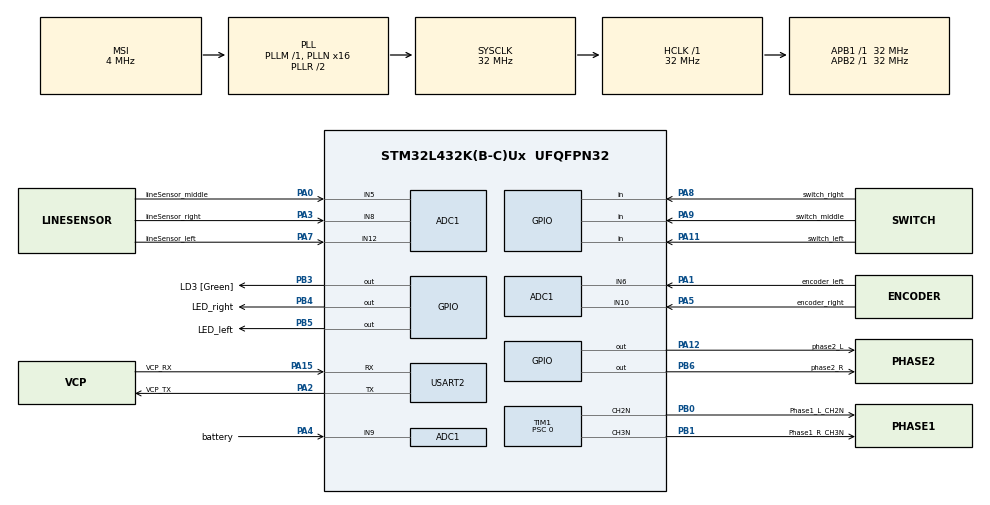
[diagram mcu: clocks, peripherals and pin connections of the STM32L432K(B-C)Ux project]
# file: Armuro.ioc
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ADC1.Channel-0\#ChannelRegularConversion=ADC_CHANNEL_5
ADC1.Channel-1\#ChannelRegularConversion=ADC_CHANNEL_6
ADC1.Channel-2\#ChannelRegularConversion=ADC_CHANNEL_8
ADC1.Channel-3\#ChannelRegularConversion=ADC_CHANNEL_9
ADC1.Channel-4\#ChannelRegularConversion=ADC_CHANNEL_10
ADC1.Channel-5\#ChannelRegularConversion=ADC_CHANNEL_12
ADC1.ClockPrescaler=ADC_CLOCK_ASYNC_DIV4
ADC1.ContinuousConvMode=ENABLE
ADC1.EOCSelection=ADC_EOC_SEQ_CONV
ADC1.NbrOfConversion=6
ADC1.NbrOfConversionFlag=1
ADC1.OffsetNumber-0\#ChannelRegularConversion=ADC_OFFSET_NONE
ADC1.OffsetNumber-1\#ChannelRegularConversion=ADC_OFFSET_NONE
ADC1.OffsetNumber-2\#ChannelRegularConversion=ADC_OFFSET_NONE
ADC1.OffsetNumber-3\#ChannelRegularConversion=ADC_OFFSET_NONE
ADC1.OffsetNumber-4\#ChannelRegularConversion=ADC_OFFSET_NONE
ADC1.OffsetNumber-5\#ChannelRegularConversion=ADC_OFFSET_NONE
ADC1.Rank-0\#ChannelRegularConversion=1
ADC1.Rank-1\#ChannelRegularConversion=2
ADC1.Rank-2\#ChannelRegularConversion=3
ADC1.Rank-3\#ChannelRegularConversion=4
ADC1.Rank-4\#ChannelRegularConversion=5
ADC1.Rank-5\#ChannelRegularConversion=6
ADC1.SamplingTime-0\#ChannelRegularConversion=ADC_SAMPLETIME_2CYCLES_5
ADC1.SamplingTime-1\#ChannelRegularConversion=ADC_SAMPLETIME_2CYCLES_5
ADC1.SamplingTime-2\#ChannelRegularConversion=ADC_SAMPLETIME_2CYCLES_5
ADC1.SamplingTime-3\#ChannelRegularConversion=ADC_SAMPLETIME_2CYCLES_5
ADC1.SamplingTime-4\#ChannelRegularConversion=ADC_SAMPLETIME_2CYCLES_5
ADC1.SamplingTime-5\#ChannelRegularConversion=ADC_SAMPLETIME_2CYCLES_5
ADC1.master=1
Dma.ADC1.0.Direction=DMA_PERIPH_TO_MEMORY
Dma.ADC1.0.Instance=DMA1_Channel1
Dma.ADC1.0.MemDataAlignment=DMA_MDATAALIGN_WORD
Dma.ADC1.0.MemInc=DMA_MINC_ENABLE
Dma.ADC1.0.Mode=DMA_CIRCULAR
Dma.ADC1.0.PeriphDataAlignment=DMA_PDATAALIGN_WORD
Dma.ADC1.0.PeriphInc=DMA_PINC_DISABLE
Dma.ADC1.0.Priority=DMA_PRIORITY_LOW
Dma.Request0=ADC1
Mcu.Family=STM32L4
Mcu.Name=STM32L432K(B-C)Ux
Mcu.Package=UFQFPN32
NVIC.DMA1_Channel1_IRQn=true\:0\:0\:false\:false\:true\:false\:true\:true
NVIC.PriorityGroup=NVIC_PRIORITYGROUP_4
PA0.GPIO_Label=lineSensor_middle
PA0.Signal=ADCx_IN5
PA1.GPIO_Label=encoder_left
PA1.Signal=ADCx_IN6
PA11.GPIO_Label=switch_left
PA11.Signal=GPIO_Input
PA12.GPIO_Label=phase2_L
PA12.PinState=GPIO_PIN_RESET
PA12.Signal=GPIO_Output
PA13\ (JTMS-SWDIO).GPIO_Label=SWDIO
PA13\ (JTMS-SWDIO).Mode=Serial_Wire
PA13\ (JTMS-SWDIO).Signal=SYS_JTMS-SWDIO
PA14\ (JTCK-SWCLK).GPIO_Label=SWCLK
PA14\ (JTCK-SWCLK).Mode=Serial_Wire
PA14\ (JTCK-SWCLK).Signal=SYS_JTCK-SWCLK
PA15\ (JTDI).GPIO_Label=VCP_RX
PA15\ (JTDI).Mode=Asynchronous
PA15\ (JTDI).Signal=USART2_RX
PA2.GPIO_Label=VCP_TX
PA2.Mode=Asynchronous
PA2.Signal=USART2_TX
PA3.GPIO_Label=lineSensor_right
PA3.Signal=ADCx_IN8
PA4.GPIO_Label=battery
PA4.Signal=ADCx_IN9
PA5.GPIO_Label=encoder_right
PA5.Signal=ADCx_IN10
PA7.GPIO_Label=lineSensor_left
PA7.Signal=ADCx_IN12
PA8.GPIO_Label=switch_right
PA8.Signal=GPIO_Input
PA9.GPIO_Label=switch_middle
PA9.Signal=GPIO_Input
PB0.GPIO_Label=Phase1_L_CH2N
PB0.Mode=PWM Generation2 CH2N
PB0.Signal=TIM1_CH2N
PB1.GPIO_Label=Phase1_R_CH3N
PB1.Mode=PWM Generation3 CH3N
PB1.Signal=TIM1_CH3N
PB3\ (JTDO-TRACESWO).GPIO_Label=LD3 [Green]
PB3\ (JTDO-TRACESWO).Signal=GPIO_Output
PB4\ (NJTRST).GPIO_Label=LED_right
PB4\ (NJTRST).Signal=GPIO_Output
PB5.GPIO_Label=LED_left
PB5.Signal=GPIO_Output
PB6.GPIO_Label=phase2_R
PB6.Signal=GPIO_Output
PC14-OSC32_IN\ (PC14).Mode=LSE-External-Oscillator
PC14-OSC32_IN\ (PC14).Signal=RCC_OSC32_IN
PC15-OSC32_OUT\ (PC15).Mode=LSE-External-Oscillator
PC15-OSC32_OUT\ (PC15).Signal=RCC_OSC32_OUT
ProjectManager.HeapSize=0x200
ProjectManager.StackSize=0x400
ProjectManager.TargetToolchain=STM32CubeIDE
RCC.ADCFreq_Value=32000000
RCC.AHBFreq_Value=32000000
RCC.APB1Freq_Value=32000000
RCC.APB1TimFreq_Value=32000000
RCC.APB2Freq_Value=32000000
RCC.APB2TimFreq_Value=32000000
RCC.CortexFreq_Value=32000000
RCC.HCLKFreq_Value=32000000
RCC.HSE_VALUE=8000000
RCC.HSI16_VALUE=16000000
RCC.HSI48_VALUE=48000000
RCC.HSI_VALUE=16000000
RCC.MSI_VALUE=4000000
RCC.PLLMUL=RCC_PLLMUL_4
RCC.PLLN=16
RCC.PLLSAI1N=16
RCC.SYSCLKFreq_VALUE=32000000
RCC.SYSCLKSource=RCC_SYSCLKSOURCE_PLLCLK
RCC.USBFreq_Value=32000000
RCC.VCOOutputFreq_Value=64000000
SH.ADCx_IN10.0=ADC1_IN10,IN10-Single-Ended
SH.ADCx_IN12.0=ADC1_IN12,IN12-Single-Ended
SH.ADCx_IN5.0=ADC1_IN5,IN5-Single-Ended
SH.ADCx_IN6.0=ADC1_IN6,IN6-Single-Ended
SH.ADCx_IN8.0=ADC1_IN8,IN8-Single-Ended
SH.ADCx_IN9.0=ADC1_IN9,IN9-Single-Ended
TIM1.AutoReloadPreload=TIM_AUTORELOAD_PRELOAD_ENABLE
TIM1.Channel-PWM\ Generation2\ CH2N=TIM_CHANNEL_2
TIM1.Channel-PWM\ Generation3\ CH3N=TIM_CHANNEL_3
TIM1.ClockDivision=TIM_CLOCKDIVISION_DIV1
TIM1.OCFastMode_PWM-PWM\ Generation2\ CH2N=TIM_OCFAST_DISABLE
TIM1.OCFastMode_PWM-PWM\ Generation3\ CH3N=TIM_OCFAST_DISABLE
TIM1.OCNPolarity_2=TIM_OCNPOLARITY_HIGH
TIM1.Period=65535
TIM1.Prescaler=0
TIM1.Pulse-PWM\ Generation2\ CH2N=0
TIM1.Pulse-PWM\ Generation3\ CH3N=0
USART2.VirtualMode-Asynchronous=VM_ASYNC
VP_TIM1_VS_ClockSourceINT.Mode=Internal
board=NUCLEO-L432KC

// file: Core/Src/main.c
/* USER CODE BEGIN Header */
/**
  ******************************************************************************
  * @file           : main.c
  * @brief          : Main program body
  ******************************************************************************
  * @attention
  *
  * Copyright (c) 2025 STMicroelectronics.
  * All rights reserved.
  *
  * This software is licensed under terms that can be found in the LICENSE file
  * in the root directory of this software component.
  * If no LICENSE file comes with this software, it is provided AS-IS.
  *
  ******************************************************************************
  */
/* USER CODE END Header */
#include "main.h"
#include "adc.h"
#include "dma.h"
#include "tim.h"
#include "usart.h"
#include "gpio.h"

/* USER CODE BEGIN Includes */
#include <stdio.h>
#include <stdlib.h>
/* USER CODE END Includes */

/* USER CODE BEGIN PM */
#define TRUE 1
#define FALSE 0

#define LEFT 0
#define RIGHT 1

#define BACKWARDS 0
#define FORWARDS 1

// max speed
#define PWM_MAX 65535
// Wheel & encoder config
#define LOW_THRESHOLD 2000
#define HIGH_THRESHOLD 3000
#define PULSES_PER_REV 12
#define WHEEL_DIAMETER_MM 40.0f
#define WHEEL_BASE_MM 80.0f
#define M_PI 3.14159265358979323846
#define WHEEL_CIRCUM_MM (M_PI * WHEEL_DIAMETER_MM)
#define MM_PER_PULSE (WHEEL_CIRCUM_MM / PULSES_PER_REV)

#define MAX_ENCODER_DIFF 30
#define MOTOR_BASE_SPEED 0.5f
#define LINE_KP 0.5f
#define LINE_HIGH_THRESHOLD 2000
/* USER CODE END PM */

/* USER CODE BEGIN PV */

// state control variables

// LED states
enum LED_STATE {
    LED_ON,
    LED_OFF
};
enum LED_STATE taskLED_state = LED_ON;
uint32_t taskLED_timeout = 0;

typedef enum { MOVE_FORWARD, TURN_LEFT, TURN_RIGHT, DONE } StepType;

typedef struct {
    StepType type;
    float value;  // mm for forward, degrees for turn
} TrajectoryStep;

TrajectoryStep path[] = {
    { MOVE_FORWARD, 500 },
    { TURN_RIGHT,    30 },
    { MOVE_FORWARD, 433 },
    { TURN_LEFT,    90  },
    { MOVE_FORWARD, 245 },
    { DONE, 0 }
};
int current_step = 0;

typedef enum {
    SEARCH_INIT,
    SEARCH_ROTATE_RIGHT,
    SEARCH_ROTATE_RIGHT_BACK,
    SEARCH_ROTATE_LEFT,
    SEARCH_ROTATE_LEFT_BACK,
    SEARCH_DONE
} SearchState;

typedef enum {
    FOLLOW_TRAJECTORY,
    FOLLOW_LINE,
    SEARCH_LINE,
    OVERCOME_GAP,
    AVOID_OBSTACLE,
    COURSE_DONE
} CourseState;

// adc variables
volatile uint16_t adc[6];
volatile uint16_t buffer[6];    // DMA target
volatile uint8_t conversion_done_flag = 1;
char string_buf[100];

uint8_t current_channel_index = 0;
const uint32_t adc_channels[6] = {
    ADC_CHANNEL_5,   // PA0 – Line sensor mid
    ADC_CHANNEL_6,   // PA1 – Encoder left
    ADC_CHANNEL_8,   // PA3 – Line sensor right
    ADC_CHANNEL_9,   // PA4 – Battery
    ADC_CHANNEL_10,  // PA5 – Encoder right
    ADC_CHANNEL_12   // PA7 – Line sensor left
};

// Encoder state
volatile int left_prev_state = 0;
volatile int right_prev_state = 0;
volatile int left_total_count = 0;
volatile int right_total_count = 0;

// variables for driving control
uint32_t start_left = 0;
uint32_t start_right = 0;
volatile int target_pulses = 0;
static uint8_t driving = 0;

// variables for course state
CourseState course_state = FOLLOW_TRAJECTORY;
SearchState search_state = SEARCH_INIT;
int avoidObstacleState = 0;

/* USER CODE END PV */

void SystemClock_Config(void);
/* USER CODE BEGIN PFP */
float getVel(float, int);
void setMotors(int, int, float, float);
void moveRoboboy(int, int, float, float);
void driveMotorsCooperative(int, int);
char driveMMStraightCooperative(int, float);
char spinDegreesCooperative(int, float);
void HAL_ADC_ConvCpltCallback(ADC_HandleTypeDef*);
void readSensorsAndPrint(void);
void process_encoder_signals();
void taskLED(void);
int mm_to_pulses(float);
int degrees_to_pulses(float);
void task_followTrajectory(void);
void reset_encoder_counters(void);
char line_detected(void);
char collision_detected(void);
float* get_pwm_values(void);
void task_followLine();
void task_searchLine(void);
void task_avoidObstacle();
void task_overcomeGap();
/* USER CODE END PFP */

int main(void)
{

  /* MCU Configuration--------------------------------------------------------*/

  /* Reset of all peripherals, Initializes the Flash interface and the Systick. */
  HAL_Init();

  /* USER CODE BEGIN Init */
  /* INITIALIZE PWM */
  /* USER CODE END Init */

  /* Configure the system clock */
  SystemClock_Config();

  /* Initialize all configured peripherals */
  MX_GPIO_Init();
  MX_DMA_Init();
  MX_USART2_UART_Init();
  MX_ADC1_Init();
  MX_TIM1_Init();
  /* USER CODE BEGIN 2 */
  HAL_ADC_Start_DMA(&hadc1, (uint32_t*)buffer, 6);

  HAL_TIMEx_PWMN_Start(&htim1, TIM_CHANNEL_2);
  HAL_TIMEx_PWMN_Start(&htim1, TIM_CHANNEL_3);
  TIM1 -> CCR2 = 0;
  TIM1 -> CCR3 = 0;

  /* USER CODE END 2 */

  /* Infinite loop */
  /* USER CODE BEGIN WHILE */
  while (1)
  {
	  if (conversion_done_flag) {
		  readSensorsAndPrint();

		  process_encoder_signals();
		  taskLED();

		  switch (course_state) {
		  	  case FOLLOW_TRAJECTORY:
		  		  task_followTrajectory();
		  		  break;
		  	  case FOLLOW_LINE:
		  		  task_followLine();
		  		  break;
		  	  case SEARCH_LINE:
		  		  task_searchLine();
		  		  break;
		  	  case OVERCOME_GAP:
		  		  task_overcomeGap();
		  		  break;
		  	  case AVOID_OBSTACLE:
		  		  task_avoidObstacle();
		  		  break;
		  	  case COURSE_DONE:
		  		  moveRoboboy(1, 1, 0, 0);
		  	  default:
		  		  moveRoboboy(1, 1, 0, 0);
		  		  break;
		  	  }
	  }

    /* USER CODE END WHILE */

  }
}

void SystemClock_Config(void)
{
  RCC_OscInitTypeDef RCC_OscInitStruct = {0};
  RCC_ClkInitTypeDef RCC_ClkInitStruct = {0};

  /** Configure the main internal regulator output voltage
  */
  if (HAL_PWREx_ControlVoltageScaling(PWR_REGULATOR_VOLTAGE_SCALE1) != HAL_OK)
  {
    Error_Handler();
  }

  /** Configure LSE Drive Capability
  */
  HAL_PWR_EnableBkUpAccess();
  __HAL_RCC_LSEDRIVE_CONFIG(RCC_LSEDRIVE_LOW);

  /** Initializes the RCC Oscillators according to the specified parameters
  * in the RCC_OscInitTypeDef structure.
  */
  RCC_OscInitStruct.OscillatorType = RCC_OSCILLATORTYPE_LSE|RCC_OSCILLATORTYPE_MSI;
  RCC_OscInitStruct.LSEState = RCC_LSE_ON;
  RCC_OscInitStruct.MSIState = RCC_MSI_ON;
  RCC_OscInitStruct.MSICalibrationValue = 0;
  RCC_OscInitStruct.MSIClockRange = RCC_MSIRANGE_6;
  RCC_OscInitStruct.PLL.PLLState = RCC_PLL_ON;
  RCC_OscInitStruct.PLL.PLLSource = RCC_PLLSOURCE_MSI;
  RCC_OscInitStruct.PLL.PLLM = 1;
  RCC_OscInitStruct.PLL.PLLN = 16;
  RCC_OscInitStruct.PLL.PLLP = RCC_PLLP_DIV7;
  RCC_OscInitStruct.PLL.PLLQ = RCC_PLLQ_DIV2;
  RCC_OscInitStruct.PLL.PLLR = RCC_PLLR_DIV2;
  if (HAL_RCC_OscConfig(&RCC_OscInitStruct) != HAL_OK)
  {
    Error_Handler();
  }

  /** Initializes the CPU, AHB and APB buses clocks
  */
  RCC_ClkInitStruct.ClockType = RCC_CLOCKTYPE_HCLK|RCC_CLOCKTYPE_SYSCLK
                              |RCC_CLOCKTYPE_PCLK1|RCC_CLOCKTYPE_PCLK2;
  RCC_ClkInitStruct.SYSCLKSource = RCC_SYSCLKSOURCE_PLLCLK;
  RCC_ClkInitStruct.AHBCLKDivider = RCC_SYSCLK_DIV1;
  RCC_ClkInitStruct.APB1CLKDivider = RCC_HCLK_DIV1;
  RCC_ClkInitStruct.APB2CLKDivider = RCC_HCLK_DIV1;

  if (HAL_RCC_ClockConfig(&RCC_ClkInitStruct, FLASH_LATENCY_1) != HAL_OK)
  {
    Error_Handler();
  }

  /** Enable MSI Auto calibration
  */
  HAL_RCCEx_EnableMSIPLLMode();
}

/* USER CODE BEGIN 4 */

// <------ Code for motor controls ------>

/*
 * @brief Returns fraction of maximum velocity, either inverted or not
 *
 * @param vel must be in range [0,1],
 * @param dir must be 1 - forwards or 0 - backwards, otherwise return -1
 */
float getVel(float vel, int dir) {
	if ((dir != 1 && dir != 0) || vel < 0 || vel > 1) return -1;

	if (dir) {
		return PWM_MAX * (1 - vel);
	} else {
		return PWM_MAX * vel;
	}
}

/*
 * @brief Sets the velocity of the motors and sets the h-bridges according to the wanted direction
 *
 * @param velL velocity of left motor, must be in range [0,65535],
 * @param velR velocity of right motor, must be in range [0,65535],
 * @param leftF bit indicating left motor spin direction, must be 1 or 0,
 * @param rightF bit indicating right motor spin direction, must be 1 or 0
 */
void setMotors(int leftF, int rightF, float velL, float velR) {
	// ==== left motor h-bridges ====
	if (leftF == 0) {
		// case: forwards
		HAL_GPIO_WritePin(GPIOA, phase2_L_Pin, GPIO_PIN_RESET);
	} else {
	    // case: backwards
		HAL_GPIO_WritePin(GPIOA, phase2_L_Pin, GPIO_PIN_SET);
	}

	// ==== right motor h-bridges ====
	if (rightF == 0) {
		// case: forwards
	    HAL_GPIO_WritePin(GPIOB, phase2_R_Pin, GPIO_PIN_RESET);
	} else {
    	// case: backwards
	    HAL_GPIO_WritePin(GPIOB, phase2_R_Pin, GPIO_PIN_SET);
	}

	// set Motor velocities
	TIM1->CCR2 = velL;
	TIM1->CCR3 = velR;
}

/*
 * @brief Function which sets the motor speeds according to the given velocity and direction
 *
 * @param leftF bit indicating left motor spin direction, must be 1 or 0,
 * @param rightF bit indicating right motor spin direction, must be 1 or 0
 * @param velL velocity of right motor, must be in range [0,1],
 * @param velR velocity of right motor, must be in range [0,1],
 */
void moveRoboboy(int leftF, int rightF, float velL, float velR) {
	if((leftF != 1 && leftF != 0) || (rightF != 1 && rightF != 0)) return;

	//right motor runs "backwards"
	rightF = !rightF;

	if (velL < 0) {
		leftF = !leftF;
		velL = -velL;
	}
	if (velR < 0) {
		rightF = !rightF;
		velR = -velR;
	}

	//potentially flip velocity due to h-bridge
	velL = getVel(velL, leftF);
	velR = getVel(velR, rightF);

	setMotors(leftF, rightF, velL, velR);
}

/*
 * @brief Drives both motors with adjusted speeds to minimize encoder difference.
 *
 * Uses encoder feedback to compensate for mechanical asymmetries between left and right motors.
 * Adjusts motor speeds proportionally to keep the robot moving in a straight line.
 * This function should be called repeatedly in a cooperative main loop.
 *
 * @param leftF  Direction for the left motor (0 = forward, 1 = backward)
 * @param rightF Direction for the right motor (0 = forward, 1 = backward)
 */
void driveMotorsCooperative(int leftF, int rightF) {
	if((leftF != 1 && leftF != 0) || (rightF != 1 && rightF != 0)) return;

	int encoderDiff = left_total_count - right_total_count;

	float newSpeedRight;
	float newSpeedLeft;

	if (encoderDiff > MAX_ENCODER_DIFF) {
		newSpeedRight = 0.0f;
		newSpeedLeft = 0.75f;
	} else if (encoderDiff < -MAX_ENCODER_DIFF) {
		newSpeedRight = 0.75f;
		newSpeedLeft = 0.0f;
	} else {
		newSpeedRight = MOTOR_BASE_SPEED - (encoderDiff / 3 * MAX_ENCODER_DIFF);
		newSpeedLeft = MOTOR_BASE_SPEED + (encoderDiff / 3 * MAX_ENCODER_DIFF);
	}

	// Clamp to 0–1
	if (newSpeedLeft > 1.0f) newSpeedLeft = 1.0f;
	if (newSpeedLeft > 1.0f) newSpeedLeft = 1.0f;
	if (newSpeedRight < 0.0f) newSpeedRight = 0.0f;
	if (newSpeedRight < 0.0f) newSpeedRight = 0.0f;

	moveRoboboy(leftF, rightF, newSpeedLeft, newSpeedRight);
}

/*
 * @brief Drives the robot straight for a given distance in millimeters.
 *
 * Starts a straight-line movement in the specified direction and tracks the distance
 * traveled using encoder counts. Must be called repeatedly until it returns 1.
 *
 * @param forward Movement direction (1 = forward, 0 = backward)
 * @param mm      Distance to travel in millimeters
 * @return        1 when the distance is completed, 0 otherwise
 */
char driveMMStraightCooperative(int forward, float mm) {
	if (driving == 0) {
		target_pulses = mm_to_pulses(mm);
		start_left = left_total_count;
		start_right = right_total_count;
		driving = 1;
	}
	if (forward == 1) {
		driveMotorsCooperative(1, 1);
	} else {
		driveMotorsCooperative(0, 0);
	}

	if ((left_total_count - start_left) >= target_pulses &&
	        (right_total_count - start_right) >= target_pulses) {
	        moveRoboboy(1, 1, 0, 0);  // stop
	        driving = 0;
	        return 1;
	    }
	return 0;
}

/*
 * @brief Rotates the robot in place for a specified angle.
 *
 * Initiates a point-turn and tracks the rotation using encoder pulses.
 * Must be called repeatedly until the turn is complete and it return 1.
 *
 * @param direction Direction of rotation (LEFT = 0, RIGHT = 1)
 * @param degrees   Angle to rotate in degrees
 * @return          1 when the rotation is completed, 0 otherwise
 */
char spinDegreesCooperative(int direction, float degrees) {
    if (driving == 0) {
        target_pulses = degrees_to_pulses(degrees);
        start_left = left_total_count;
        start_right = right_total_count;
        driving = 1;
    } else if ((left_total_count - start_left) >= target_pulses && (right_total_count - start_right) >= target_pulses) {
    	moveRoboboy(1, 1, 0, 0);
    	driving = 0;
    	return 1;
    }

    if (direction == RIGHT) {
         // left forward, right backward
        driveMotorsCooperative(0, 1);
    } else {
    	// left backwards, right forwards
    	driveMotorsCooperative(1, 0);
    }
    return 0;
}

// <------ Code for processing encoder signals ------>

/*
 * @brief Callback function for ADC conversion complete interrupt.
 *
 * Stores the read ADC value into the adc[] buffer and starts the next conversion cycle.
 * This function is automatically called when the ADC finishes a conversion.
 *
 * @param hadc Pointer to the ADC handler (should be ADC1)
 */
void HAL_ADC_ConvCpltCallback(ADC_HandleTypeDef* hadc) {
	if (hadc->Instance == ADC1) {
	        for (int i = 0; i < 6; i++) {
	            adc[i] = buffer[i];
	        }
	        conversion_done_flag = 1;
	    }
}

void readSensorsAndPrint(void) {
	if (conversion_done_flag) {
		conversion_done_flag = 0;
	    HAL_ADC_Start_DMA(&hadc1, buffer, 6);
	}

    int len = sprintf(string_buf,
    		"ADC: [%4d %4d %4d %4d %4d %4d] ENC: L=%4d R=%4d\r\n",
			adc[0], adc[1], adc[2], adc[3], adc[4], adc[5],
			left_total_count, right_total_count);
    HAL_UART_Transmit(&huart2, (uint8_t*)string_buf, len, 100);
}

/*
 * @brief Interprets encoder signals from ADC values and counts rising edges.
 *
 * Increments the global encoder tick counters for the left and right wheel
 * when a rising edge is detected in the analog signal.
 * This function should be called regularly (e.g. in main loop).
 */
void process_encoder_signals() {
    // Left encoder
    uint16_t val_l = adc[1];
    uint8_t state_l = (val_l > HIGH_THRESHOLD) ? 1 : (val_l < LOW_THRESHOLD) ? 0 : left_prev_state;
    if (state_l != left_prev_state && state_l == 1) {
        left_total_count++;
    }
    left_prev_state = state_l;

    // Right encoder
    uint16_t val_r = adc[4];
    uint8_t state_r = (val_r > HIGH_THRESHOLD) ? 1 : (val_r < LOW_THRESHOLD) ? 0 : right_prev_state;
    if (state_r != right_prev_state && state_r == 1) {
        right_total_count++;
    }
    right_prev_state = state_r;
}

// <------ Code for LED control ------>
/*
 * @brief Blinks the onboard LED in a cooperative, non-blocking manner.
 *
 * Uses a state machine and HAL_GetTick() to toggle the LED every 500 ms.
 * Should be called regularly in the main loop.
 */
void taskLED(void) {
    uint32_t current_time = HAL_GetTick();

    if (current_time < taskLED_timeout) return;

    switch (taskLED_state) {
        case LED_ON:
            HAL_GPIO_WritePin(LD3_GPIO_Port, LD3_Pin, GPIO_PIN_SET);
            taskLED_timeout = current_time + 500;
            taskLED_state = LED_OFF;
            break;

        case LED_OFF:
            HAL_GPIO_WritePin(LD3_GPIO_Port, LD3_Pin, GPIO_PIN_RESET);
            taskLED_timeout = current_time + 500;
            taskLED_state = LED_ON;
            break;
    }
}

// <------ Code for trajectory following ------>

/*
 * @brief Converts a linear distance in millimeters to encoder pulses.
 *
 * @param mm Distance in millimeters
 * @return Number of encoder pulses corresponding to the distance
 */
int mm_to_pulses(float mm) {
    return (int)(mm / MM_PER_PULSE);
}

/*
 * @brief Converts a rotation angle (degrees) to encoder pulses based on robot geometry.
 *
 * Assumes the robot rotates around its center (point turn).
 *
 * @param degrees Angle in degrees
 * @return Number of pulses required for the given rotation
 */
int degrees_to_pulses(float degrees) {
    float turn_circumference = M_PI * WHEEL_BASE_MM;
    float arc_length = (degrees / 360.0f) * turn_circumference;
    return (int) mm_to_pulses(arc_length);
}

/*
 * @brief Drives a predefined path made of trajectory steps (forward/turn).
 *
 * Executes each step from the global path[] array cooperatively. Advances to the next step
 * only after the current movement or turn completes. Transitions to FOLLOW_LINE state once done.
 */
void task_followTrajectory(void) {
    TrajectoryStep* step = &path[current_step];

    switch (step->type) {
        case MOVE_FORWARD:
            if (driveMMStraightCooperative(1, step->value)) {
            	moveRoboboy(1, 1, 0, 0);
            	current_step++;
            }
            break;

        case TURN_LEFT:
            if (spinDegreesCooperative(LEFT, step->value)) {
            	moveRoboboy(1, 1, 0, 0);
            	current_step++;
                reset_encoder_counters();
            }
            break;

        case TURN_RIGHT:
        	if (spinDegreesCooperative(RIGHT, step->value)) {
        		moveRoboboy(1, 1, 0, 0);
        		current_step++;
        		reset_encoder_counters();
        	}
            break;

        case DONE:
            moveRoboboy(1, 1, 0, 0);
            break;
    }
}

/*
 * @brief Resets encoder pulse counts to 0.
 */
void reset_encoder_counters(void) {
    left_total_count = 0;
    right_total_count = 0;
}

// <------ Code for following line ------>

/*
 * @brief Checks if any line sensor detects a dark surface.
 *
 * @return true if any sensor value is above the line detection threshold
 */
char line_detected(void) {
    return (adc[0] > LINE_HIGH_THRESHOLD || adc[2] > LINE_HIGH_THRESHOLD || adc[5] > LINE_HIGH_THRESHOLD);
}

/*
 * @brief Checks if any line sensor detects a dark surface.
 *
 * @return true if any sensor value is above the line detection threshold
 */
char collision_detected(void) {
	return (!HAL_GPIO_ReadPin(GPIOA, switch_left_Pin) || !HAL_GPIO_ReadPin(GPIOA, switch_middle_Pin) || !HAL_GPIO_ReadPin(GPIOA, switch_right_Pin));
}

/*
 * @brief Computes PWM values for left and right motors based on line sensor values.
 *
 * Uses a weighted sum of the left, middle, and right line sensors to calculate
 * position error and applies a P-controller to derive speed correction.
 *
 * @return Pointer to float[2] array: {left PWM, right PWM}
 * @note Dynamically allocates memory — caller is responsible for freeing it if needed.
 */
float* get_pwm_values(void) {
    // All sensors see white → line lost
	static float pwm_values[2];
    if (line_detected() == FALSE) {
    	pwm_values[0] = 0;
    	pwm_values[1] = 0;
    	return pwm_values;
    }

    int sum = adc[0] + adc[2] + adc[5];
    if (sum == 0) {
    	// case: weird stuff and we dont want division by zero errors
    	pwm_values[0] = 0;
    	pwm_values[1] = 0;
    	return pwm_values;
    }
    // Weighted sum for error calculations: left = -1, middle = 0, right = +1
    int error = (-1 * adc[5] + 0 * adc[0] + 1 * adc[2]) * 1000 / sum;

    float correction = LINE_KP * (float)error / 1000.0f;

    float speed_left = MOTOR_BASE_SPEED - correction;
    float speed_right = MOTOR_BASE_SPEED + correction;

    // Clamp
    if (speed_left > 1.0f) speed_left = 1.0f;
    if (speed_left < 0.0f) speed_left = 0.0f;
    if (speed_right > 1.0f) speed_right = 1.0f;
    if (speed_right < 0.0f) speed_right = 0.0f;

    pwm_values[0] = getVel(speed_left, FORWARDS);
    pwm_values[1]= getVel(speed_right, FORWARDS);

    return pwm_values;
}

/*
 * @brief Cooperative state machine to search for a lost line.
 *
 * Performs a left-right sweep using one-sided turns to relocate the line.
 * If no line is found, transitions to OVERCOME_GAP state.
 * If the line is found during the search, resumes line following.
 */
void task_followLine() {
	float* pwm = get_pwm_values();

	if (line_detected()) {
		setMotors(0, 0, pwm[0], pwm[1]);
	} else if (collision_detected()){
		avoidObstacleState = 0;
		reset_encoder_counters();
		course_state = AVOID_OBSTACLE;
	} else {
		course_state = SEARCH_LINE;
	}
}

// <------ Code for search line ------>

/*
 * @brief Cooperative state machine to search for a lost line.
 *
 * Performs a left-right sweep using one-sided turns to relocate the line.
 * If no line is found, transitions to OVERCOME_GAP state.
 * If the line is found during the search, resumes line following.
 */
void task_searchLine(void) {
    switch (search_state) {
        case SEARCH_INIT:
            moveRoboboy(1, 1, 0, 0);
            search_state = SEARCH_ROTATE_RIGHT;
            break;

        case SEARCH_ROTATE_RIGHT:
            if (spinDegreesCooperative(RIGHT, 100.0f)) {
            	moveRoboboy(1, 1, 0, 0);
                search_state = SEARCH_ROTATE_RIGHT_BACK;
            } else if (line_detected()) {
                moveRoboboy(1, 1, 0, 0);
                search_state = SEARCH_DONE;
            }
            break;

        case SEARCH_ROTATE_RIGHT_BACK:
        	if (spinDegreesCooperative(LEFT, 100.0f)) {
        		moveRoboboy(1, 1, 0, 0);
                search_state = SEARCH_ROTATE_LEFT;
        	}
            break;

        case SEARCH_ROTATE_LEFT:
        	if (spinDegreesCooperative(LEFT, 100.0f)) {
        		// case: no line found
        		moveRoboboy(1, 1, 0, 0);
        		search_state = SEARCH_ROTATE_LEFT_BACK;
        	} else if (line_detected()) {
                moveRoboboy(1, 1, 0, 0);
                search_state = SEARCH_DONE;
            }
            break;

        case SEARCH_ROTATE_LEFT_BACK:
        	if (spinDegreesCooperative(RIGHT, 100.0f)) {
        		moveRoboboy(1, 1, 0, 0);
        		reset_encoder_counters();
        		search_state = SEARCH_INIT;
                course_state = OVERCOME_GAP;
        	}
            break;
        case SEARCH_DONE:
            course_state = FOLLOW_LINE;
            reset_encoder_counters();
            search_state = SEARCH_INIT;
            break;
    }
}

// <------ Code for avoid obstacle------>

/*
 * @brief Obstacle avoidance maneuver using a fixed path around the obstacle.
 *
 * The robot first drives backward, turns, then bypasses the obstacle
 * using a sequence of trajectory steps.
 * Each step is executed cooperatively via driveMMStraightCooperative() and spinDegreesCooperative().
 */

void task_avoidObstacle() {
	switch(avoidObstacleState) {
		case 0:
			if (driveMMStraightCooperative(0, 50)) {
				avoidObstacleState++;
			}
			break;
		case 1:
			if (spinDegreesCooperative(RIGHT, 90)) {
				avoidObstacleState++;
			}
			break;
		case 2:
			if (driveMMStraightCooperative(1, 150)) {
			    avoidObstacleState++;
			}
			break;
		case 3:
			if (spinDegreesCooperative(LEFT, 90)) {
				avoidObstacleState++;
			}
			break;
		case 4:
			if (driveMMStraightCooperative(1, 200)) {
				avoidObstacleState++;
			}
			break;
		case 5:
			if (spinDegreesCooperative(LEFT, 90)) {
				avoidObstacleState++;
			}
			break;
		case 6:
			if (driveMMStraightCooperative(1, 150)) {
				avoidObstacleState++;
			}
			break;
		case 7:
			if (spinDegreesCooperative(RIGHT, 90)) {
				avoidObstacleState++;
			}
			break;
		default:
			course_state = FOLLOW_LINE;
	}
}

/*
 * @brief Handles the case when the robot lost the line due to a gap.
 *
 * Continues driving straight while checking for the line.
 * Once the line is detected again, switches back to FOLLOW_LINE state.
 */
void task_overcomeGap() {
	if (line_detected()) {
		course_state = FOLLOW_LINE;
	} else {
		driveMMStraightCooperative(1, 100);
	}
}

/* USER CODE END 4 */

void Error_Handler(void)
{
  __disable_irq();
  while (1)
  {
  }
}
